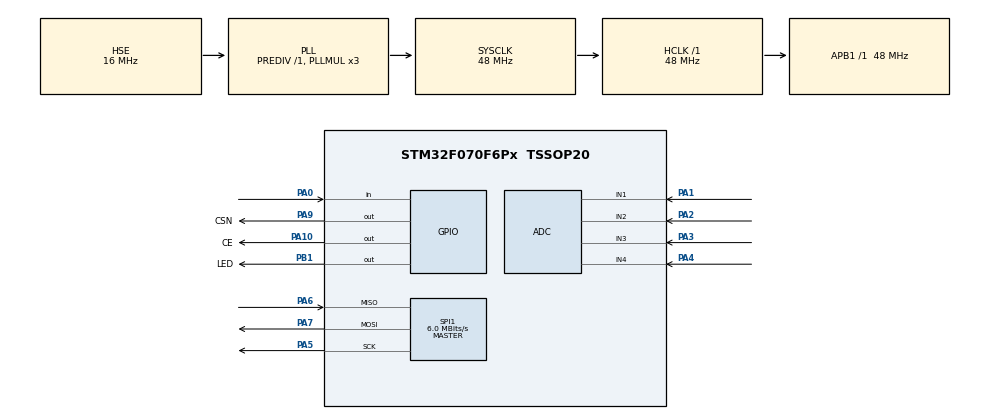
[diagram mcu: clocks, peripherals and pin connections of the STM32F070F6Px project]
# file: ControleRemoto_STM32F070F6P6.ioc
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ADC.ContinuousConvMode=ENABLE
ADC.DMAContinuousRequests=ENABLE
ADC.SamplingTime=ADC_SAMPLETIME_239CYCLES_5
Dma.ADC.0.Direction=DMA_PERIPH_TO_MEMORY
Dma.ADC.0.Instance=DMA1_Channel1
Dma.ADC.0.MemDataAlignment=DMA_MDATAALIGN_WORD
Dma.ADC.0.MemInc=DMA_MINC_ENABLE
Dma.ADC.0.Mode=DMA_CIRCULAR
Dma.ADC.0.PeriphDataAlignment=DMA_PDATAALIGN_WORD
Dma.ADC.0.PeriphInc=DMA_PINC_DISABLE
Dma.ADC.0.Priority=DMA_PRIORITY_LOW
Dma.Request0=ADC
Mcu.Family=STM32F0
Mcu.Name=STM32F070F6Px
Mcu.Package=TSSOP20
NVIC.DMA1_Channel1_IRQn=true\:0\:0\:false\:false\:true\:false\:true\:true
PA0.Signal=GPIO_Input
PA1.Mode=IN1
PA1.Signal=ADC_IN1
PA10.GPIO_Label=CE
PA10.Signal=GPIO_Output
PA13.Mode=Serial_Wire
PA13.Signal=SYS_SWDIO
PA14.Mode=Serial_Wire
PA14.Signal=SYS_SWCLK
PA2.Mode=IN2
PA2.Signal=ADC_IN2
PA3.Mode=IN3
PA3.Signal=ADC_IN3
PA4.Mode=IN4
PA4.Signal=ADC_IN4
PA5.Mode=Full_Duplex_Master
PA5.Signal=SPI1_SCK
PA6.Mode=Full_Duplex_Master
PA6.Signal=SPI1_MISO
PA7.Mode=Full_Duplex_Master
PA7.Signal=SPI1_MOSI
PA9.GPIO_Label=CSN
PA9.Signal=GPIO_Output
PB1.GPIO_Label=LED
PB1.Signal=GPIO_Output
PF0-OSC_IN.Mode=HSE-External-Oscillator
PF0-OSC_IN.Signal=RCC_OSC_IN
PF1-OSC_OUT.Mode=HSE-External-Oscillator
PF1-OSC_OUT.Signal=RCC_OSC_OUT
ProjectManager.HeapSize=0x200
ProjectManager.StackSize=0x400
ProjectManager.TargetToolchain=STM32CubeIDE
RCC.AHBFreq_Value=48000000
RCC.APB1Freq_Value=48000000
RCC.APB1TimFreq_Value=48000000
RCC.HCLKFreq_Value=48000000
RCC.HSE_VALUE=16000000
RCC.PLLMUL=RCC_PLL_MUL3
RCC.PLLSourceVirtual=RCC_PLLSOURCE_HSE
RCC.SYSCLKFreq_VALUE=48000000
RCC.SYSCLKSource=RCC_SYSCLKSOURCE_PLLCLK
SPI1.BaudRatePrescaler=SPI_BAUDRATEPRESCALER_8
SPI1.CalculateBaudRate=6.0 MBits/s
SPI1.DataSize=SPI_DATASIZE_8BIT
SPI1.Direction=SPI_DIRECTION_2LINES
SPI1.Mode=SPI_MODE_MASTER
SPI1.VirtualType=VM_MASTER
board=custom

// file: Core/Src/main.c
/* USER CODE BEGIN Header */
/**
  ******************************************************************************
  * @file           : main.c
  * @brief          : Main program body
  ******************************************************************************
  * @attention
  *
  * Copyright (c) 2024 STMicroelectronics.
  * All rights reserved.
  *
  * This software is licensed under terms that can be found in the LICENSE file
  * in the root directory of this software component.
  * If no LICENSE file comes with this software, it is provided AS-IS.
  *
  ******************************************************************************
  */
/* USER CODE END Header */
#include "main.h"

/* USER CODE BEGIN Includes */
#include "NRF24L01.h"
/* USER CODE END Includes */

ADC_HandleTypeDef hadc;
DMA_HandleTypeDef hdma_adc;

SPI_HandleTypeDef hspi1;

/* USER CODE BEGIN PV */
uint32_t h[4];

/* USER CODE END PV */

void SystemClock_Config(void);
static void MX_GPIO_Init(void);
static void MX_DMA_Init(void);
static void MX_ADC_Init(void);
static void MX_SPI1_Init(void);

/* USER CODE BEGIN 0 */
uint8_t TxAddress[] = {0xEE, 0xDD, 0xCC, 0xBB, 0xAA};
uint8_t frente[] = "frente";
uint8_t tras[] = "tras";
uint8_t direita[] = "direita";
uint8_t esquerda[] = "esquerda";
uint8_t cima[] = "cima";
uint8_t baixo[] = "baixo";
uint8_t giroesq[] = "giroesq";
uint8_t girodir[] = "girodir";

/* USER CODE END 0 */

int main(void)
{

  /* MCU Configuration--------------------------------------------------------*/

  /* Reset of all peripherals, Initializes the Flash interface and the Systick. */
  HAL_Init();

  /* Configure the system clock */
  SystemClock_Config();

  /* Initialize all configured peripherals */
  MX_GPIO_Init();
  MX_DMA_Init();
  MX_ADC_Init();
  MX_SPI1_Init();
  /* USER CODE BEGIN 2 */
  NRF24_Init();

  NRF24_TxMode(TxAddress, 10);
  HAL_ADC_Start_DMA(&hadc, h, 4);
  /* USER CODE END 2 */

  /* Infinite loop */
  while (1)
  {

    /* USER CODE BEGIN 3 */

	  if(h[2] >= 3000){
		  	  if(NRF24_Transmit(frente) == 1){
		  			  HAL_GPIO_TogglePin(GPIOB,GPIO_PIN_1);
		  			  HAL_Delay(1000);
		  }
	  }
	  if(h[2] <= 1000){
	  		  if(NRF24_Transmit(tras) == 1){
	  		  			  HAL_GPIO_TogglePin(GPIOB,GPIO_PIN_1);
	  		  			  HAL_Delay(500);
	  		  }
	  	  }
	  if(h[3] >= 3000){
	  		  if(NRF24_Transmit(direita) == 1){
	  			  HAL_GPIO_WritePin(GPIOB,GPIO_PIN_1, GPIO_PIN_SET);
	  			  HAL_Delay(500);
	  	 }
	  }
	  if(h[3] <= 1000){
	  		 if(NRF24_Transmit(esquerda) == 1){
	  			 HAL_GPIO_WritePin(GPIOB,GPIO_PIN_1, GPIO_PIN_RESET);
	  			 HAL_Delay(500);
	  	 }
	  	  }

  /*if(h[0] >= 3000){
  		  	  if(NRF24_Transmit(frente) == 1){
  		  			  HAL_GPIO_TogglePin(GPIOB,GPIO_PIN_1);
  		  			  HAL_Delay(1000);
  		  }
  	  }*/

  if(h[0] <= 1000){
  	  		  if(NRF24_Transmit(tras) == 1){
  	  		  			  HAL_GPIO_TogglePin(GPIOB,GPIO_PIN_1);
  	  		  			  HAL_Delay(500);
  	  		  }
  	  	  }
  if(h[1] >= 3000){
  	  		  if(NRF24_Transmit(girodir) == 1){
  	  			  HAL_GPIO_WritePin(GPIOB,GPIO_PIN_1, GPIO_PIN_SET);
  	  			  HAL_Delay(500);
  	  	 }
  	  }
  if(h[1] <= 1000){
  	  		 if(NRF24_Transmit(giroesq) == 1){
  	  			 HAL_GPIO_WritePin(GPIOB,GPIO_PIN_1, GPIO_PIN_RESET);
  	  			 HAL_Delay(500);
  	  	 }
  	  	  }
    }
  /* USER CODE END 3 */
}

void SystemClock_Config(void)
{
  RCC_OscInitTypeDef RCC_OscInitStruct = {0};
  RCC_ClkInitTypeDef RCC_ClkInitStruct = {0};

  /** Initializes the RCC Oscillators according to the specified parameters
  * in the RCC_OscInitTypeDef structure.
  */
  RCC_OscInitStruct.OscillatorType = RCC_OSCILLATORTYPE_HSI14|RCC_OSCILLATORTYPE_HSE;
  RCC_OscInitStruct.HSEState = RCC_HSE_ON;
  RCC_OscInitStruct.HSI14State = RCC_HSI14_ON;
  RCC_OscInitStruct.HSI14CalibrationValue = 16;
  RCC_OscInitStruct.PLL.PLLState = RCC_PLL_ON;
  RCC_OscInitStruct.PLL.PLLSource = RCC_PLLSOURCE_HSE;
  RCC_OscInitStruct.PLL.PLLMUL = RCC_PLL_MUL3;
  RCC_OscInitStruct.PLL.PREDIV = RCC_PREDIV_DIV1;
  if (HAL_RCC_OscConfig(&RCC_OscInitStruct) != HAL_OK)
  {
    Error_Handler();
  }

  /** Initializes the CPU, AHB and APB buses clocks
  */
  RCC_ClkInitStruct.ClockType = RCC_CLOCKTYPE_HCLK|RCC_CLOCKTYPE_SYSCLK
                              |RCC_CLOCKTYPE_PCLK1;
  RCC_ClkInitStruct.SYSCLKSource = RCC_SYSCLKSOURCE_PLLCLK;
  RCC_ClkInitStruct.AHBCLKDivider = RCC_SYSCLK_DIV1;
  RCC_ClkInitStruct.APB1CLKDivider = RCC_HCLK_DIV1;

  if (HAL_RCC_ClockConfig(&RCC_ClkInitStruct, FLASH_LATENCY_1) != HAL_OK)
  {
    Error_Handler();
  }
}

static void MX_ADC_Init(void)
{

  ADC_ChannelConfTypeDef sConfig = {0};

  /** Configure the global features of the ADC (Clock, Resolution, Data Alignment and number of conversion)
  */
  hadc.Instance = ADC1;
  hadc.Init.ClockPrescaler = ADC_CLOCK_ASYNC_DIV1;
  hadc.Init.Resolution = ADC_RESOLUTION_12B;
  hadc.Init.DataAlign = ADC_DATAALIGN_RIGHT;
  hadc.Init.ScanConvMode = ADC_SCAN_DIRECTION_FORWARD;
  hadc.Init.EOCSelection = ADC_EOC_SINGLE_CONV;
  hadc.Init.LowPowerAutoWait = DISABLE;
  hadc.Init.LowPowerAutoPowerOff = DISABLE;
  hadc.Init.ContinuousConvMode = ENABLE;
  hadc.Init.DiscontinuousConvMode = DISABLE;
  hadc.Init.ExternalTrigConv = ADC_SOFTWARE_START;
  hadc.Init.ExternalTrigConvEdge = ADC_EXTERNALTRIGCONVEDGE_NONE;
  hadc.Init.DMAContinuousRequests = ENABLE;
  hadc.Init.Overrun = ADC_OVR_DATA_PRESERVED;
  if (HAL_ADC_Init(&hadc) != HAL_OK)
  {
    Error_Handler();
  }

  /** Configure for the selected ADC regular channel to be converted.
  */
  sConfig.Channel = ADC_CHANNEL_1;
  sConfig.Rank = ADC_RANK_CHANNEL_NUMBER;
  sConfig.SamplingTime = ADC_SAMPLETIME_239CYCLES_5;
  if (HAL_ADC_ConfigChannel(&hadc, &sConfig) != HAL_OK)
  {
    Error_Handler();
  }

  /** Configure for the selected ADC regular channel to be converted.
  */
  sConfig.Channel = ADC_CHANNEL_2;
  if (HAL_ADC_ConfigChannel(&hadc, &sConfig) != HAL_OK)
  {
    Error_Handler();
  }

  /** Configure for the selected ADC regular channel to be converted.
  */
  sConfig.Channel = ADC_CHANNEL_3;
  if (HAL_ADC_ConfigChannel(&hadc, &sConfig) != HAL_OK)
  {
    Error_Handler();
  }

  /** Configure for the selected ADC regular channel to be converted.
  */
  sConfig.Channel = ADC_CHANNEL_4;
  if (HAL_ADC_ConfigChannel(&hadc, &sConfig) != HAL_OK)
  {
    Error_Handler();
  }

}

static void MX_SPI1_Init(void)
{

  /* SPI1 parameter configuration*/
  hspi1.Instance = SPI1;
  hspi1.Init.Mode = SPI_MODE_MASTER;
  hspi1.Init.Direction = SPI_DIRECTION_2LINES;
  hspi1.Init.DataSize = SPI_DATASIZE_8BIT;
  hspi1.Init.CLKPolarity = SPI_POLARITY_LOW;
  hspi1.Init.CLKPhase = SPI_PHASE_1EDGE;
  hspi1.Init.NSS = SPI_NSS_SOFT;
  hspi1.Init.BaudRatePrescaler = SPI_BAUDRATEPRESCALER_8;
  hspi1.Init.FirstBit = SPI_FIRSTBIT_MSB;
  hspi1.Init.TIMode = SPI_TIMODE_DISABLE;
  hspi1.Init.CRCCalculation = SPI_CRCCALCULATION_DISABLE;
  hspi1.Init.CRCPolynomial = 7;
  hspi1.Init.CRCLength = SPI_CRC_LENGTH_DATASIZE;
  hspi1.Init.NSSPMode = SPI_NSS_PULSE_ENABLE;
  if (HAL_SPI_Init(&hspi1) != HAL_OK)
  {
    Error_Handler();
  }

}

static void MX_DMA_Init(void)
{

  /* DMA controller clock enable */
  __HAL_RCC_DMA1_CLK_ENABLE();

  /* DMA interrupt init */
  /* DMA1_Channel1_IRQn interrupt configuration */
  HAL_NVIC_SetPriority(DMA1_Channel1_IRQn, 0, 0);
  HAL_NVIC_EnableIRQ(DMA1_Channel1_IRQn);

}

static void MX_GPIO_Init(void)
{
  GPIO_InitTypeDef GPIO_InitStruct = {0};

  /* GPIO Ports Clock Enable */
  __HAL_RCC_GPIOF_CLK_ENABLE();
  __HAL_RCC_GPIOA_CLK_ENABLE();
  __HAL_RCC_GPIOB_CLK_ENABLE();

  /*Configure GPIO pin Output Level */
  HAL_GPIO_WritePin(LED_GPIO_Port, LED_Pin, GPIO_PIN_RESET);

  /*Configure GPIO pin Output Level */
  HAL_GPIO_WritePin(GPIOA, CSN_Pin|CE_Pin, GPIO_PIN_RESET);

  /*Configure GPIO pin : PA0 */
  GPIO_InitStruct.Pin = GPIO_PIN_0;
  GPIO_InitStruct.Mode = GPIO_MODE_INPUT;
  GPIO_InitStruct.Pull = GPIO_NOPULL;
  HAL_GPIO_Init(GPIOA, &GPIO_InitStruct);

  /*Configure GPIO pin : LED_Pin */
  GPIO_InitStruct.Pin = LED_Pin;
  GPIO_InitStruct.Mode = GPIO_MODE_OUTPUT_PP;
  GPIO_InitStruct.Pull = GPIO_NOPULL;
  GPIO_InitStruct.Speed = GPIO_SPEED_FREQ_LOW;
  HAL_GPIO_Init(LED_GPIO_Port, &GPIO_InitStruct);

  /*Configure GPIO pins : CSN_Pin CE_Pin */
  GPIO_InitStruct.Pin = CSN_Pin|CE_Pin;
  GPIO_InitStruct.Mode = GPIO_MODE_OUTPUT_PP;
  GPIO_InitStruct.Pull = GPIO_NOPULL;
  GPIO_InitStruct.Speed = GPIO_SPEED_FREQ_LOW;
  HAL_GPIO_Init(GPIOA, &GPIO_InitStruct);

}

void Error_Handler(void)
{
  __disable_irq();
  while (1)
  {
  }
}
